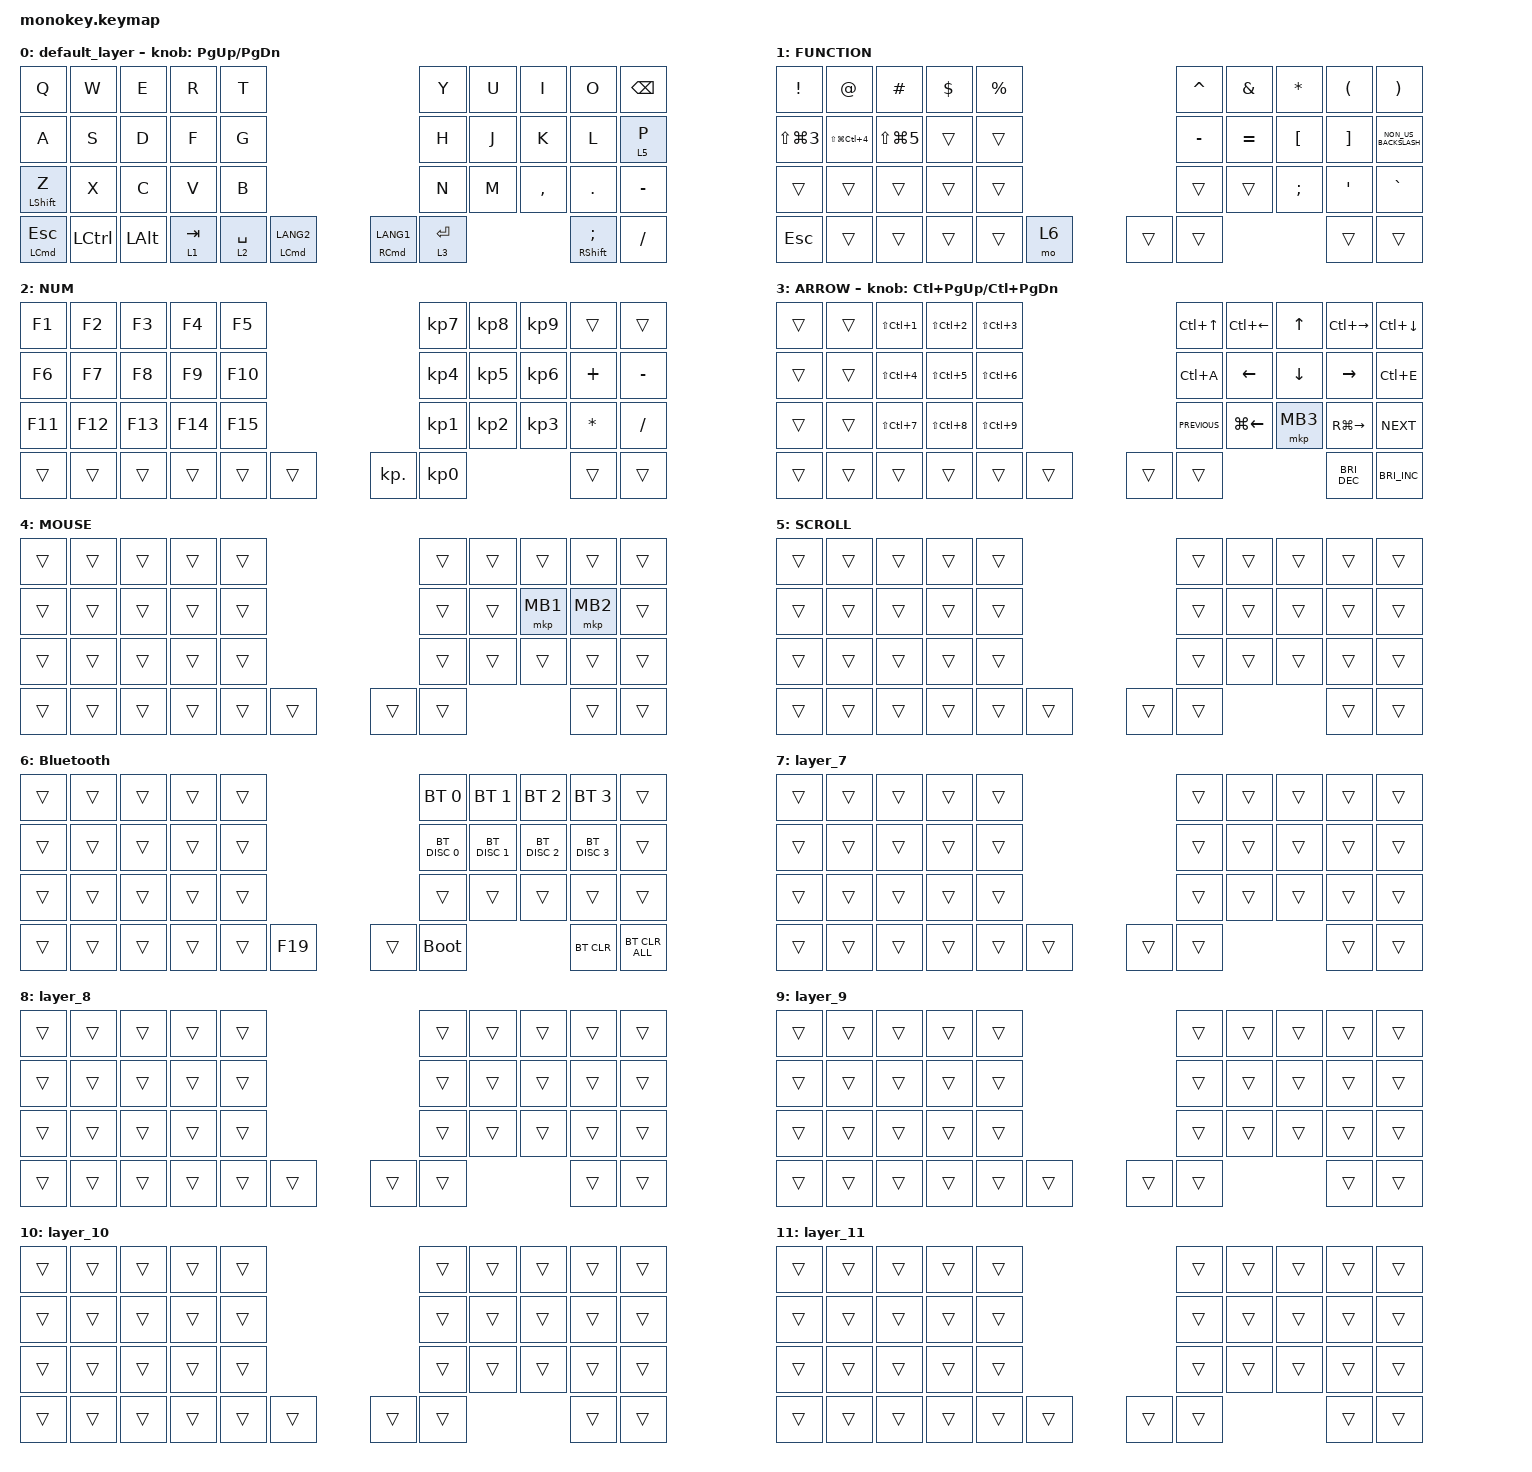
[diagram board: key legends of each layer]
#include <behaviors.dtsi>
#include <dt-bindings/zmk/bt.h>
#include <dt-bindings/zmk/keys.h>
#include <dt-bindings/zmk/pointing.h>

&mt {
    flavor = "balanced";
    quick-tap-ms = <300>;
};

&lt { quick-tap-ms = <300>; };

/ {
    combos {
        compatible = "zmk,combos";

        scroll {
            bindings = <&mo 5>;
            key-positions = <17 18>;
        };

        mb3 {
            bindings = <&mkp MB3>;
            key-positions = <19 18>;
        };
    };

    behaviors {
        right_click: right_click_behavior {
            compatible = "zmk,behavior-mouse-key";
            label = "RIGHT_CLICK";
            #binding-cells = <0>;

            // 右クリックは通常 MB2 に対応（ZMKの標準定義）

            bindings = <&mkp MB2>;
        };
    };

    keymap {
        compatible = "zmk,keymap";

        default_layer {
            bindings = <
&kp Q             &kp W      &kp E         &kp R                   &kp T                           &kp Y        &kp U                    &kp I      &kp O         &kp BACKSPACE
&kp A             &kp S      &kp D         &kp F                   &kp G                           &kp H        &kp J                    &kp K      &kp L         &lt 5 P
&mt LEFT_SHIFT Z  &kp X      &kp C         &kp V                   &kp B                           &kp N        &kp M                    &kp COMMA  &kp PERIOD    &kp MINUS
&mt LEFT_COMMAND ESCAPE      &kp LCTRL  &kp LEFT_ALT  &lt 1 TAB  &lt 2 SPACE  &mt LEFT_COMMAND LANG2    &mt RIGHT_COMMAND LANG1  &lt 3 ENTER        &mt RIGHT_SHIFT SEMICOLON  &kp SLASH
            >;

            sensor-bindings = <&inc_dec_kp PG_UP PAGE_DOWN>;
        };

        FUNCTION {
            bindings = <
&kp EXCLAMATION       &kp AT_SIGN               &kp HASH        &kp DOLLAR  &kp PERCENT           &kp CARET  &kp AMPERSAND  &kp ASTERISK      &kp LEFT_PARENTHESIS  &kp RIGHT_PARENTHESIS
&kp LS(LG(NUMBER_3))  &kp LS(LG(LC(NUMBER_4)))  &kp LS(LG(N5))  &trans      &trans                &kp MINUS  &kp EQUAL      &kp LEFT_BRACKET  &kp RIGHT_BRACKET     &kp NON_US_BACKSLASH
&trans                &trans                    &trans          &trans      &trans                &trans     &trans         &kp SEMICOLON     &kp SINGLE_QUOTE      &kp GRAVE
&kp ESCAPE            &trans                    &trans          &trans      &trans       &mo 6    &trans     &trans                           &trans                &trans
            >;
        };

        NUM {
            bindings = <
&kp F1   &kp F2   &kp F3   &kp F4   &kp F5             &kp KP_N7     &kp KP_N8  &kp KP_N9  &trans        &trans
&kp F6   &kp F7   &kp F8   &kp F9   &kp F10            &kp KP_N4     &kp KP_N5  &kp KP_N6  &kp PLUS      &kp MINUS
&kp F11  &kp F12  &kp F13  &kp F14  &kp F15            &kp KP_N1     &kp KP_N2  &kp KP_N3  &kp ASTERISK  &kp SLASH
&trans   &trans   &trans   &trans   &trans   &trans    &kp KP_DOT    &kp KP_N0             &trans        &trans
            >;
        };

        ARROW {
            bindings = <
&trans  &trans  &kp LS(LC(NUMBER_1))  &kp LS(LC(NUMBER_2))  &kp LS(LC(NUMBER_3))            &kp LC(UP_ARROW)  &kp LC(LEFT_ARROW)  &kp UP_ARROW    &kp LC(RIGHT)    &kp LC(DOWN_ARROW)
&trans  &trans  &kp LS(LC(NUMBER_4))  &kp LS(LC(N5))        &kp LS(LC(NUMBER_6))            &kp LC(A)         &kp LEFT_ARROW      &kp DOWN_ARROW  &kp RIGHT_ARROW  &kp LC(E)
&trans  &trans  &kp LS(LC(N7))        &kp LS(LC(N8))        &kp LS(LC(N9))                  &kp C_PREVIOUS    &kp LG(LEFT)        &mkp MB3        &kp RG(RIGHT)    &kp C_NEXT
&trans  &trans  &trans                &trans                &trans                &trans    &trans            &trans                              &kp C_BRI_DEC    &kp C_BRI_INC
            >;

            sensor-bindings = <&inc_dec_kp LC(PAGE_UP) LC(PAGE_DOWN)>;
        };

        MOUSE {
            bindings = <
&trans  &trans  &trans  &trans  &trans            &trans  &trans  &trans    &trans    &trans
&trans  &trans  &trans  &trans  &trans            &trans  &trans  &mkp MB1  &mkp MB2  &trans
&trans  &trans  &trans  &trans  &trans            &trans  &trans  &trans    &trans    &trans
&trans  &trans  &trans  &trans  &trans  &trans    &trans  &trans            &trans    &trans
            >;
        };

        SCROLL {
            bindings = <
&trans  &trans  &trans  &trans  &trans            &trans  &trans  &trans  &trans  &trans
&trans  &trans  &trans  &trans  &trans            &trans  &trans  &trans  &trans  &trans
&trans  &trans  &trans  &trans  &trans            &trans  &trans  &trans  &trans  &trans
&trans  &trans  &trans  &trans  &trans  &trans    &trans  &trans          &trans  &trans
            >;
        };

        Bluetooth {
            bindings = <
&trans  &trans  &trans  &trans  &trans            &bt BT_SEL 0   &bt BT_SEL 1   &bt BT_SEL 2   &bt BT_SEL 3   &trans
&trans  &trans  &trans  &trans  &trans            &bt BT_DISC 0  &bt BT_DISC 1  &bt BT_DISC 2  &bt BT_DISC 3  &trans
&trans  &trans  &trans  &trans  &trans            &trans         &trans         &trans         &trans         &trans
&trans  &trans  &trans  &trans  &trans  &kp F19   &trans         &bootloader                   &bt BT_CLR     &bt BT_CLR_ALL
            >;
        };

        layer_7 {
            bindings = <
&trans  &trans  &trans  &trans  &trans            &trans  &trans  &trans  &trans  &trans
&trans  &trans  &trans  &trans  &trans            &trans  &trans  &trans  &trans  &trans
&trans  &trans  &trans  &trans  &trans            &trans  &trans  &trans  &trans  &trans
&trans  &trans  &trans  &trans  &trans  &trans    &trans  &trans          &trans  &trans
            >;
        };

        layer_8 {
            bindings = <
&trans  &trans  &trans  &trans  &trans            &trans  &trans  &trans  &trans  &trans
&trans  &trans  &trans  &trans  &trans            &trans  &trans  &trans  &trans  &trans
&trans  &trans  &trans  &trans  &trans            &trans  &trans  &trans  &trans  &trans
&trans  &trans  &trans  &trans  &trans  &trans    &trans  &trans          &trans  &trans
            >;
        };

        layer_9 {
            bindings = <
&trans  &trans  &trans  &trans  &trans            &trans  &trans  &trans  &trans  &trans
&trans  &trans  &trans  &trans  &trans            &trans  &trans  &trans  &trans  &trans
&trans  &trans  &trans  &trans  &trans            &trans  &trans  &trans  &trans  &trans
&trans  &trans  &trans  &trans  &trans  &trans    &trans  &trans          &trans  &trans
            >;
        };

        layer_10 {
            bindings = <
&trans  &trans  &trans  &trans  &trans            &trans  &trans  &trans  &trans  &trans
&trans  &trans  &trans  &trans  &trans            &trans  &trans  &trans  &trans  &trans
&trans  &trans  &trans  &trans  &trans            &trans  &trans  &trans  &trans  &trans
&trans  &trans  &trans  &trans  &trans  &trans    &trans  &trans          &trans  &trans
            >;
        };

        layer_11 {
            bindings = <
&trans  &trans  &trans  &trans  &trans            &trans  &trans  &trans  &trans  &trans
&trans  &trans  &trans  &trans  &trans            &trans  &trans  &trans  &trans  &trans
&trans  &trans  &trans  &trans  &trans            &trans  &trans  &trans  &trans  &trans
&trans  &trans  &trans  &trans  &trans  &trans    &trans  &trans          &trans  &trans
            >;
        };
    };
};
